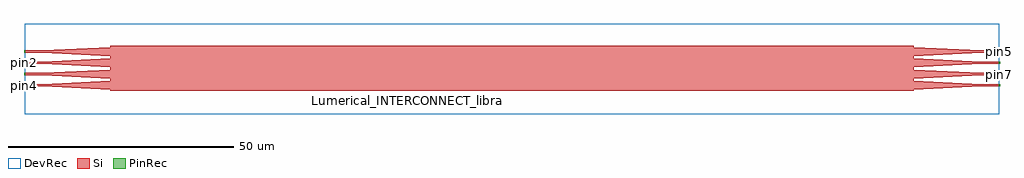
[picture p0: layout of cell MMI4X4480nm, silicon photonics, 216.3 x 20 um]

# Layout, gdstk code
import gdstk
lib = gdstk.Library(unit=1e-6, precision=1e-10)
def R(c, l, rs):  # rectangles x0, y0, x1, y1
    for r in rs: c.add(gdstk.rectangle(r[:2], r[2:], *l))
def A(c, l, x, y, w, h, nx, ny, dx, dy):  # array of equal rectangles
    R(c, l, [(x+i*dx, y+j*dy, x+i*dx+w, y+j*dy+h) for i in range(nx) for j in range(ny)])
def P(c, l, *ps):  # polygons
    for p in ps: c.add(gdstk.Polygon(p, *l))
Si = (1, 0)
PinRec = (1, 10)
DevRec = (68, 0)

mmi4x4480nm = lib.new_cell('MMI4X4480nm')
A(mmi4x4480nm, Si, -108, -3.99, 4, 0.48, 1, 4, 0, 2.5)
A(mmi4x4480nm, Si, 104, -3.99, 4, 0.48, 1, 4, 0, 2.5)
R(mmi4x4480nm, Si, [(-89,-5,89,5)])
P(mmi4x4480nm, Si, [(89,2.75),(89,4.75),(104,3.99),(104,3.51)],
  [(89,0.25),(89,2.25),(104,1.49),(104,1.01)],
  [(89,-2.25),(89,-0.25),(104,-1.01),(104,-1.49)],
  [(89,-4.75),(89,-2.75),(104,-3.51),(104,-3.99)],
  [(-89,2.75),(-104,3.51),(-104,3.99),(-89,4.75)],
  [(-89,-4.75),(-104,-3.99),(-104,-3.51),(-89,-2.75)],
  [(-89,-2.25),(-104,-1.49),(-104,-1.01),(-89,-0.25)],
  [(-89,0.25),(-104,1.01),(-104,1.49),(-89,2.25)])
R(mmi4x4480nm, DevRec, [(-108,-10.125,108,9.875)])
mmi4x4480nm.add(gdstk.FlexPath([(-107.85,3.75),(-108.15,3.75)], 0.48, ends="flush", simple_path=True, layer=1, datatype=10))  # PinRec
mmi4x4480nm.add(gdstk.FlexPath([(-107.85,1.25),(-108.15,1.25)], 0.48, ends="flush", simple_path=True, layer=1, datatype=10))  # PinRec
mmi4x4480nm.add(gdstk.FlexPath([(-107.85,-3.75),(-108.15,-3.75)], 0.48, ends="flush", simple_path=True, layer=1, datatype=10))  # PinRec
mmi4x4480nm.add(gdstk.FlexPath([(-107.85,-1.25),(-108.15,-1.25)], 0.48, ends="flush", simple_path=True, layer=1, datatype=10))  # PinRec
mmi4x4480nm.add(gdstk.FlexPath([(107.85,3.75),(108.15,3.75)], 0.48, ends="flush", simple_path=True, layer=1, datatype=10))  # PinRec
mmi4x4480nm.add(gdstk.FlexPath([(107.85,1.25),(108.15,1.25)], 0.48, ends="flush", simple_path=True, layer=1, datatype=10))  # PinRec
mmi4x4480nm.add(gdstk.FlexPath([(107.85,-1.25),(108.15,-1.25)], 0.48, ends="flush", simple_path=True, layer=1, datatype=10))  # PinRec
mmi4x4480nm.add(gdstk.FlexPath([(107.85,-3.75),(108.15,-3.75)], 0.48, ends="flush", simple_path=True, layer=1, datatype=10))  # PinRec
mmi4x4480nm.add(gdstk.Label('pin4', (-108,-3.75), layer=1, texttype=10))
mmi4x4480nm.add(gdstk.Label('pin2', (-108,1.26), layer=1, texttype=10))
mmi4x4480nm.add(gdstk.Label('pin3', (-108,-1.25), layer=1, texttype=10))
mmi4x4480nm.add(gdstk.Label('pin5', (108,3.75), layer=1, texttype=10))
mmi4x4480nm.add(gdstk.Label('pin6', (108,1.25), layer=1, texttype=10))
mmi4x4480nm.add(gdstk.Label('pin7', (108,-1.25), layer=1, texttype=10))
mmi4x4480nm.add(gdstk.Label('pin8', (108,-3.75), layer=1, texttype=10))
mmi4x4480nm.add(gdstk.Label('pin1', (-108,3.75), layer=1, texttype=10))
mmi4x4480nm.add(gdstk.Label('Lumerical_INTERCONNECT_library=Custom/CustomMMI4X4', (-23.1,-7.04), layer=68, texttype=0))

lib.write_gds('MMI4X4480nm.gds')
